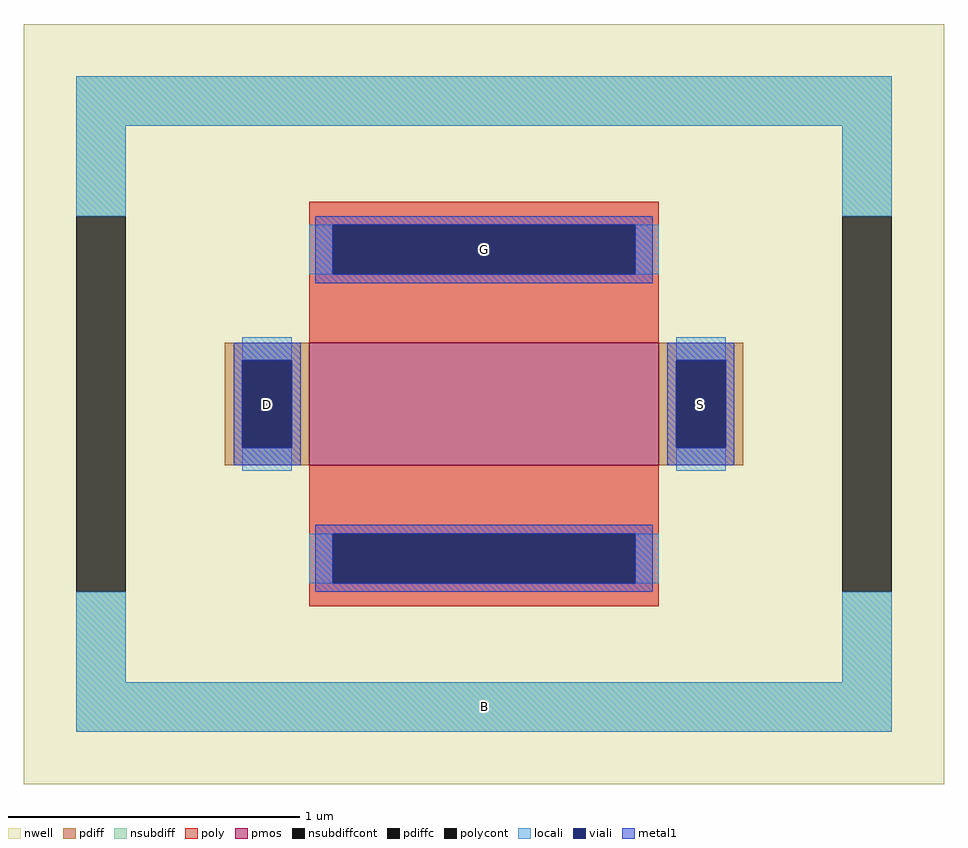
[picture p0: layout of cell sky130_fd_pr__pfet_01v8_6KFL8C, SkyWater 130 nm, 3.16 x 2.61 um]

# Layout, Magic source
magic
tech sky130A
magscale 1 2
<< nwell >>
rect -316 -261 316 261
<< pmos >>
rect -120 -42 120 42
<< pdiff >>
rect -178 30 -120 42
rect -178 -30 -166 30
rect -132 -30 -120 30
rect -178 -42 -120 -30
rect 120 30 178 42
rect 120 -30 132 30
rect 166 -30 178 30
rect 120 -42 178 -30
<< pdiffc >>
rect -166 -30 -132 30
rect 132 -30 166 30
<< nsubdiff >>
rect -280 191 280 225
rect -280 129 -246 191
rect 246 129 280 191
rect -280 -191 -246 -129
rect 246 -191 280 -129
rect -280 -225 280 -191
<< nsubdiffcont >>
rect -280 -129 -246 129
rect 246 -129 280 129
<< poly >>
rect -120 123 120 139
rect -120 89 -104 123
rect 104 89 120 123
rect -120 42 120 89
rect -120 -89 120 -42
rect -120 -123 -104 -89
rect 104 -123 120 -89
rect -120 -139 120 -123
<< polycont >>
rect -104 89 104 123
rect -104 -123 104 -89
<< locali >>
rect -280 191 280 225
rect -280 129 -246 191
rect 246 129 280 191
rect -120 89 -104 123
rect 104 89 120 123
rect -166 30 -132 46
rect -166 -46 -132 -30
rect 132 30 166 46
rect 132 -46 166 -30
rect -120 -123 -104 -89
rect 104 -123 120 -89
rect -280 -191 -246 -129
rect 246 -191 280 -129
rect -280 -225 280 -191
<< viali >>
rect -104 89 104 123
rect -166 -30 -132 30
rect 132 -30 166 30
rect -104 -123 104 -89
<< metal1 >>
rect -116 123 116 129
rect -116 89 -104 123
rect 104 89 116 123
rect -116 83 116 89
rect -172 30 -126 42
rect -172 -30 -166 30
rect -132 -30 -126 30
rect -172 -42 -126 -30
rect 126 30 172 42
rect 126 -30 132 30
rect 166 -30 172 30
rect 126 -42 172 -30
rect -116 -89 116 -83
rect -116 -123 -104 -89
rect 104 -123 116 -89
rect -116 -129 116 -123
<< labels >>
rlabel nsubdiff 0 -208 0 -208 0 B
port 1 nsew
rlabel pdiffc -149 0 -149 0 0 D
port 2 nsew
rlabel pdiffc 149 0 149 0 0 S
port 3 nsew
rlabel polycont 0 106 0 106 0 G
port 4 nsew
<< properties >>
string FIXED_BBOX -263 -208 263 208
string gencell sky130_fd_pr__pfet_01v8
string library sky130
string parameters w 0.42 l 1.2 m 1 nf 1 diffcov 100 polycov 100 guard 1 glc 1 grc 1 gtc 0 gbc 0 tbcov 100 rlcov 100 topc 1 botc 1 poverlap 0 doverlap 1 lmin 0.15 wmin 0.42 class mosfet compatible {sky130_fd_pr__pfet_01v8  sky130_fd_pr__pfet_01v8_lvt sky130_fd_pr__pfet_01v8_hvt  sky130_fd_pr__pfet_g5v0d10v5} full_metal 1 conn_gates 0 viasrc 100 viadrn 100 viagate 100 viagb 0 viagr 0 viagl 0 viagt 0 doports 1
<< end >>
